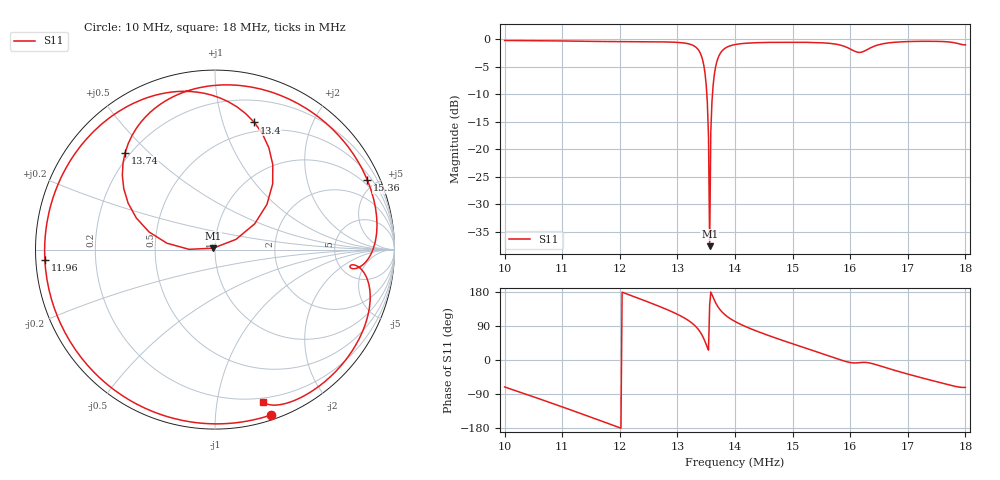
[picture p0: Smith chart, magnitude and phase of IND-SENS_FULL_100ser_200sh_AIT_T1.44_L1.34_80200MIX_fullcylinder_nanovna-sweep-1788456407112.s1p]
! NanoVNA Web complex sweep
! Processing: original sample grid, no browser smoothing
# Hz S RI R 50
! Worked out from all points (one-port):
!   401 points, 10 MHz to 18 MHz, reference 50 ohm
!   lowest |S11| = -37.6 dB at 13.56 MHz (marker M1), VSWR 1.03, Z = 48.9 + j0.745 ohm
!   |S11| at or under -10 dB: 13.51 MHz to 13.61 MHz (98.92 kHz wide, 0.73 % of centre)
!   S11 on the Smith chart (normalised r, x): 10 MHz: 0.04, -1.40; 11.96 MHz: 0.03, -0.03; 13.4 MHz: 0.41, +1.28; 13.74 MHz: 0.18, +0.42; 15.36 MHz: 0.76, +4.49; 18 MHz: 0.17, -1.35
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1e7  0.3146 -0.9208
1.05e7  -0.1192 -0.9623
1.1e7  -0.5345 -0.801
1.15e7  -0.8353 -0.4631
1.196e7  -0.9479 -0.0568
1.2e7  -0.9492 -0.0198
1.252e7  -0.8313 0.4526
1.3e7  -0.4762 0.8041
1.326e7  -0.1008 0.8776
1.34e7  0.2195 0.7082
1.348e7  0.3213 0.3662
1.35e7  0.2895 0.252
1.352e7  0.2211 0.1437
1.356e7  -0.0108 0.00762
1.36e7  -0.2677 0.0356
1.362e7  -0.3671 0.0979
1.364e7  -0.4384 0.176
1.374e7  -0.5004 0.5404
1.4e7  -0.1805 0.8746
1.444e7  0.2791 0.8879
1.5e7  0.6892 0.6355
1.536e7  0.8488 0.3865
1.572e7  0.9008 0.0965
1.6e7  0.8074 -0.096
1.634e7  0.8193 -0.1142
1.7e7  0.7576 -0.5741
1.76e7  0.4597 -0.8332
1.8e7  0.2686 -0.8471
